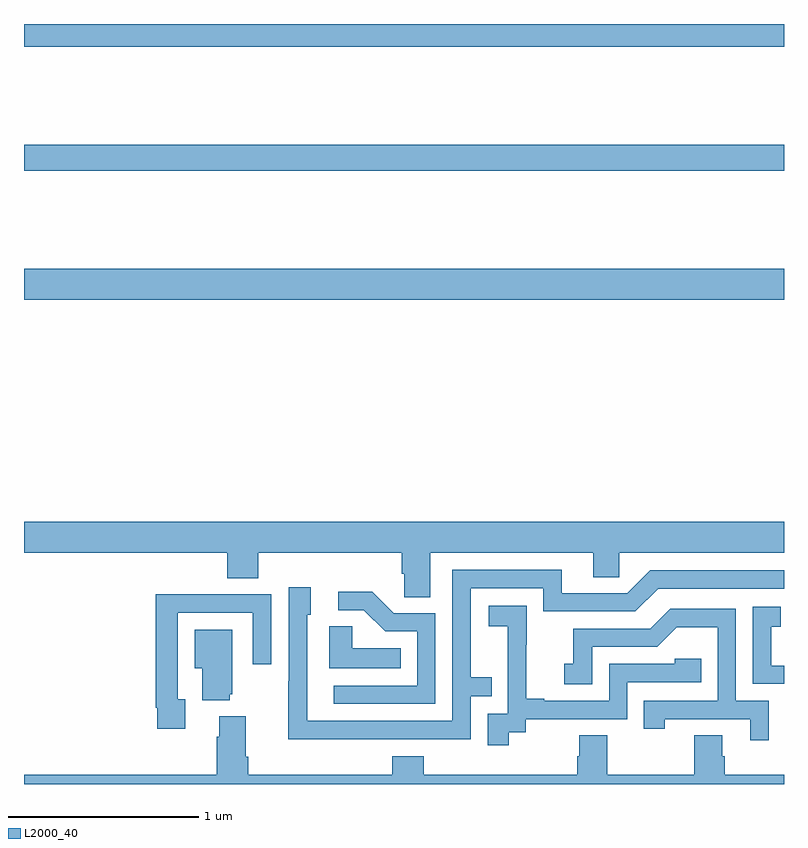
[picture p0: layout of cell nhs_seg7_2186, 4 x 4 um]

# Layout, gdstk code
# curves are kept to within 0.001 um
import gdstk
lib = gdstk.Library(unit=1e-6, precision=1e-09)
def R(c, l, rs):  # rectangles x0, y0, x1, y1
    for r in rs: c.add(gdstk.rectangle(r[:2], r[2:], *l))
def P(c, l, *ps):  # polygons
    for p in ps: c.add(gdstk.Polygon(p, *l))
L2000_40 = (2000, 40)

nhs_seg7_2186 = lib.new_cell('nhs_seg7_2186')
R(nhs_seg7_2186, L2000_40, [(253,1068.548,257,1068.712), (253,1069.228,257,1069.364), (253,1069.88,257,1070)])
P(nhs_seg7_2186, L2000_40, [(255.139,1067.216),(255.995,1067.216),(255.995,1067.089),(256.134,1067.089),(256.134,1067.216),(257,1067.216),(257,1067.38),(253,1067.38),(253,1067.216),(254.069,1067.216),(254.069,1067.083),(254.234,1067.083),(254.234,1067.216),(254.987,1067.216),(254.987,1067.107),(255,1067.107),(255,1066.984),(255.139,1066.984)],
  [(254.855,1066.236),(255.351,1066.236),(255.351,1066.461),(255.461,1066.461),(255.461,1066.562),(255.351,1066.562),(255.351,1067.031),(255.732,1067.031),(255.732,1066.908),(256.218,1066.908),(256.338,1067.028),(257,1067.028),(257,1067.124),(256.296,1067.124),(256.176,1067.004),(255.829,1067.004),(255.829,1067.127),(255.255,1067.127),(255.255,1066.332),(254.49,1066.332),(254.49,1066.89),(254.509,1066.89),(254.509,1067.035),(254.394,1067.035),(254.394,1066.541),(254.392,1066.541),(254.392,1066.235)],
  [(255.165,1066.899),(254.946,1066.899),(254.833,1067.012),(254.655,1067.012),(254.655,1066.914),(254.789,1066.914),(254.9,1066.803),(255.069,1066.803),(255.069,1066.518),(254.631,1066.518),(254.631,1066.422),(255.165,1066.422)],
  [(253.849,1066.446),(253.809,1066.446),(253.809,1066.902),(254.205,1066.902),(254.205,1066.629),(254.301,1066.629),(254.301,1066.998),(253.985,1066.998),(253.985,1067),(253.693,1067),(253.693,1066.402),(253.701,1066.402),(253.701,1066.29),(253.849,1066.29)],
  [(255.55,1066.273),(255.642,1066.273),(255.642,1066.341),(256.176,1066.341),(256.176,1066.536),(256.565,1066.536),(256.565,1066.659),(256.425,1066.659),(256.425,1066.632),(256.08,1066.632),(256.08,1066.437),(255.739,1066.437),(255.739,1066.45),(255.644,1066.45),(255.644,1066.733),(255.645,1066.733),(255.645,1066.939),(255.447,1066.939),(255.447,1066.829),(255.545,1066.829),(255.545,1066.601),(255.546,1066.601),(255.546,1066.371),(255.441,1066.371),(255.441,1066.203),(255.55,1066.203)],
  [(257,1066.623),(256.933,1066.623),(256.933,1066.827),(256.982,1066.827),(256.982,1066.933),(256.836,1066.933),(256.836,1066.527),(257,1066.527)],
  [(256.92,1066.437),(256.746,1066.437),(256.746,1066.923),(256.4,1066.923),(256.295,1066.818),(255.892,1066.818),(255.892,1066.633),(255.843,1066.633),(255.843,1066.524),(255.99,1066.524),(255.99,1066.722),(256.332,1066.722),(256.436,1066.826),(256.65,1066.826),(256.65,1066.437),(256.261,1066.437),(256.261,1066.29),(256.372,1066.29),(256.372,1066.341),(256.823,1066.341),(256.823,1066.23),(256.92,1066.23)],
  [(254.984,1066.714),(254.727,1066.714),(254.727,1066.829),(254.606,1066.829),(254.606,1066.61),(254.984,1066.61)],
  [(254.084,1066.473),(254.095,1066.473),(254.095,1066.813),(253.898,1066.813),(253.898,1066.61),(253.937,1066.61),(253.937,1066.442),(254.084,1066.442)],
  [(254.167,1066.144),(254.167,1066.357),(254.027,1066.357),(254.027,1066.25),(254.015,1066.25),(254.015,1066.048),(253,1066.048),(253,1066),(257,1066),(257,1066.048),(256.688,1066.048),(256.688,1066.146),(256.675,1066.146),(256.675,1066.256),(256.528,1066.256),(256.528,1066.048),(256.071,1066.048),(256.071,1066.256),(255.923,1066.256),(255.923,1066.146),(255.911,1066.146),(255.911,1066.048),(255.104,1066.048),(255.104,1066.147),(254.939,1066.147),(254.939,1066.048),(254.18,1066.048),(254.18,1066.144)])

lib.write_gds('nhs_seg7_2186.gds')
